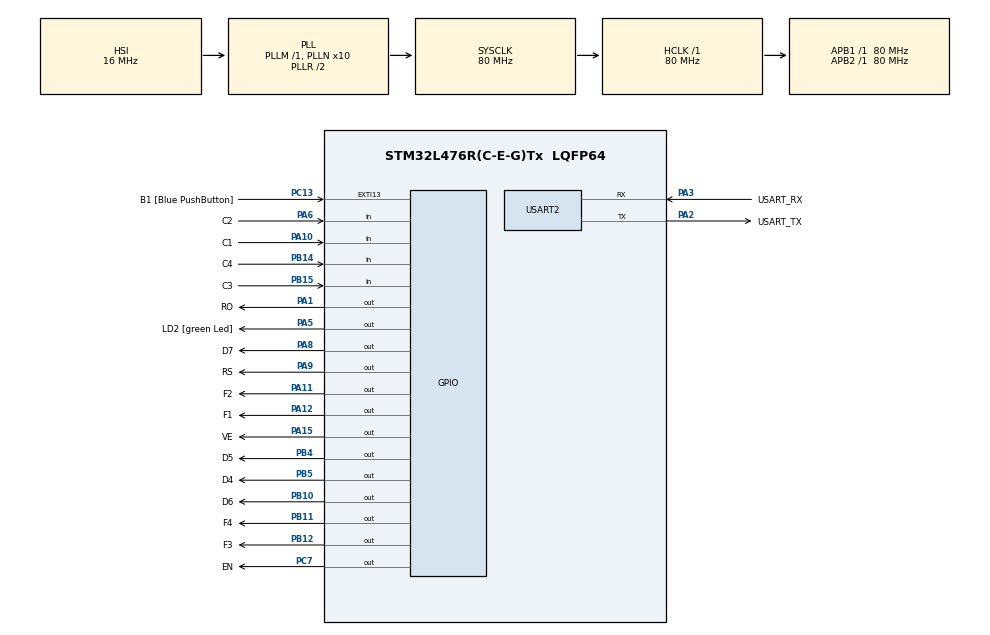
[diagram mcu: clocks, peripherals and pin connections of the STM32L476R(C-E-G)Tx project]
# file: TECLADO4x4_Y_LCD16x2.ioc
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FREERTOS.Tasks01=defaultTask,0,128,StartDefaultTask,Default,NULL,Dynamic,NULL,NULL
Mcu.Family=STM32L4
Mcu.Name=STM32L476R(C-E-G)Tx
Mcu.Package=LQFP64
NVIC.PriorityGroup=NVIC_PRIORITYGROUP_4
PA1.GPIO_Label=RO
PA1.Signal=GPIO_Output
PA10.GPIO_Label=C1 
PA10.GPIO_PuPd=GPIO_PULLUP
PA10.Signal=GPIO_Input
PA11.GPIO_Label=F2
PA11.Signal=GPIO_Output
PA12.GPIO_Label=F1
PA12.Signal=GPIO_Output
PA13\ (JTMS-SWDIO).GPIO_Label=TMS
PA13\ (JTMS-SWDIO).Mode=Serial_Wire
PA13\ (JTMS-SWDIO).Signal=SYS_JTMS-SWDIO
PA14\ (JTCK-SWCLK).GPIO_Label=TCK
PA14\ (JTCK-SWCLK).Mode=Serial_Wire
PA14\ (JTCK-SWCLK).Signal=SYS_JTCK-SWCLK
PA15\ (JTDI).GPIO_Label=VE
PA15\ (JTDI).Signal=GPIO_Output
PA2.GPIO_Label=USART_TX
PA2.GPIO_Mode=GPIO_MODE_AF_PP
PA2.GPIO_PuPd=GPIO_NOPULL
PA2.GPIO_Speed=GPIO_SPEED_FREQ_VERY_HIGH
PA2.Mode=Asynchronous
PA2.Signal=USART2_TX
PA3.GPIO_Label=USART_RX
PA3.GPIO_Mode=GPIO_MODE_AF_PP
PA3.GPIO_PuPd=GPIO_NOPULL
PA3.GPIO_Speed=GPIO_SPEED_FREQ_VERY_HIGH
PA3.Mode=Asynchronous
PA3.Signal=USART2_RX
PA5.GPIO_Label=LD2 [green Led]
PA5.GPIO_ModeDefaultOutputPP=GPIO_MODE_OUTPUT_PP
PA5.GPIO_PuPd=GPIO_NOPULL
PA5.GPIO_Speed=GPIO_SPEED_FREQ_LOW
PA5.Signal=GPIO_Output
PA6.GPIO_Label=C2
PA6.GPIO_PuPd=GPIO_PULLUP
PA6.Signal=GPIO_Input
PA8.GPIO_Label=D7
PA8.Signal=GPIO_Output
PA9.GPIO_Label=RS
PA9.Signal=GPIO_Output
PB10.GPIO_Label=D6
PB10.Signal=GPIO_Output
PB11.GPIO_Label=F4
PB11.Signal=GPIO_Output
PB12.GPIO_Label=F3
PB12.Signal=GPIO_Output
PB14.GPIO_Label=C4
PB14.GPIO_PuPd=GPIO_PULLUP
PB14.Signal=GPIO_Input
PB15.GPIO_Label=C3
PB15.GPIO_PuPd=GPIO_PULLUP
PB15.Signal=GPIO_Input
PB3\ (JTDO-TRACESWO).GPIO_Label=SWO
PB3\ (JTDO-TRACESWO).Signal=SYS_JTDO-SWO
PB4\ (NJTRST).GPIO_Label=D5
PB4\ (NJTRST).Signal=GPIO_Output
PB5.GPIO_Label=D4
PB5.Signal=GPIO_Output
PC13.GPIO_Label=B1 [Blue PushButton]
PC13.GPIO_ModeDefaultEXTI=GPIO_MODE_IT_FALLING
PC13.GPIO_PuPd=GPIO_NOPULL
PC13.Signal=GPXTI13
PC14-OSC32_IN\ (PC14).Mode=LSE-External-Oscillator
PC14-OSC32_IN\ (PC14).Signal=RCC_OSC32_IN
PC15-OSC32_OUT\ (PC15).Mode=LSE-External-Oscillator
PC15-OSC32_OUT\ (PC15).Signal=RCC_OSC32_OUT
PC7.GPIO_Label=EN
PC7.Signal=GPIO_Output
PH0-OSC_IN\ (PH0).Signal=RCC_OSC_IN
PH1-OSC_OUT\ (PH1).Signal=RCC_OSC_OUT
ProjectManager.HeapSize=0x200
ProjectManager.StackSize=0x400
ProjectManager.TargetToolchain=STM32CubeIDE
RCC.ADCFreq_Value=64000000
RCC.AHBFreq_Value=80000000
RCC.APB1Freq_Value=80000000
RCC.APB1TimFreq_Value=80000000
RCC.APB2Freq_Value=80000000
RCC.APB2TimFreq_Value=80000000
RCC.CortexFreq_Value=80000000
RCC.HCLKFreq_Value=80000000
RCC.HSE_VALUE=8000000
RCC.HSI_VALUE=16000000
RCC.MSI_VALUE=4000000
RCC.PLLN=10
RCC.PLLSourceVirtual=RCC_PLLSOURCE_HSI
RCC.PREFETCH_ENABLE=1
RCC.SYSCLKFreq_VALUE=80000000
RCC.SYSCLKSource=RCC_SYSCLKSOURCE_PLLCLK
RCC.USBFreq_Value=64000000
RCC.VCOOutputFreq_Value=160000000
USART2.VirtualMode-Asynchronous=VM_ASYNC
VP_FREERTOS_VS_CMSIS_V1.Mode=CMSIS_V1
board=NUCLEO-L476RG

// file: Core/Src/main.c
/* USER CODE BEGIN Header */
/**
  ******************************************************************************
  * @file           : main.c
  * @brief          : Main program body
  ******************************************************************************
  * @attention
  *
  * <h2><center>&copy; Copyright (c) 2020 STMicroelectronics.
  * All rights reserved.</center></h2>
  *
  * This software component is licensed by ST under BSD 3-Clause license,
  * the "License"; You may not use this file except in compliance with the
  * License. You may obtain a copy of the License at:
  *                        opensource.org/licenses/BSD-3-Clause
  *
  ******************************************************************************
  */
/* USER CODE END Header */
#include "main.h"
#include "cmsis_os.h"

/* USER CODE BEGIN Includes */
#include "lcd.h"
#include <stdio.h>
#include <stdlib.h>
#include <string.h>
/* USER CODE END Includes */

UART_HandleTypeDef huart2;

osThreadId defaultTaskHandle;
osThreadId claveHandle;
osThreadId imprimirHandle;
/* USER CODE BEGIN PV */

enum states {STATE0, STATE1, STATE2, STATE3, STATE4} current_state; //, STATE5

char input;  // aqui va estar el dato que se presione

char a1,a2,a3,a4,a5,a6,a7,a8,a9,a0;
int i=0;
char ba,bb,bc,bd;
char cal[11]={'0','1','2','3','4','5','6','7','8','9','\0'};
char str[11];

//{"0","1","2","3","4","5","6","7","8","9","*","A","B",
//		"C","D","*","#"};
/* USER CODE END PV */

void SystemClock_Config(void);
static void MX_GPIO_Init(void);
static void MX_USART2_UART_Init(void);
void StartDefaultTask(void const * argument);
void StartTask02(void const * argument);
void StartTask03(void const * argument);

/* USER CODE BEGIN PFP */

char read_keypad(void);
void contras_ciclo(int);
void cursor (char*);
void open(char*);
void error(char*);
void x(char*);
void lock_safe();
void unlock_safe();

/* USER CODE END PFP */

int main(void)
{

  /* MCU Configuration--------------------------------------------------------*/

  /* Reset of all peripherals, Initializes the Flash interface and the Systick. */
  HAL_Init();

  /* Configure the system clock */
  SystemClock_Config();

  /* Initialize all configured peripherals */
  MX_GPIO_Init();
  MX_USART2_UART_Init();
  /* USER CODE BEGIN 2 */
  Lcd_PortType ports[] = {
      	D4_GPIO_Port, D5_GPIO_Port, D6_GPIO_Port, D7_GPIO_Port
      };

      Lcd_PinType pins[] = {D4_Pin, D5_Pin, D6_Pin, D7_Pin};

      Lcd_HandleTypeDef lcd;

      lcd = Lcd_create(ports, pins, RS_GPIO_Port, RS_Pin, EN_GPIO_Port, EN_Pin, LCD_4_BIT_MODE);

      Lcd_string(&lcd, "*Bienvenido*");

      Lcd_cursor(&lcd, 1,0);
      Lcd_string(&lcd, "Ingrese pin: ");

//      Lcd_cursor(&lcd, 1,5);
//     Lcd_int(&lcd,cursor);

      lock_safe(); // inicializa seguro
//
      current_state = STATE0; //inicializamos el estado
  /* USER CODE END 2 */

  /* Create the thread(s) */
  /* definition and creation of defaultTask */
  osThreadDef(defaultTask, StartDefaultTask, osPriorityNormal, 0, 128);
  defaultTaskHandle = osThreadCreate(osThread(defaultTask), NULL);

  /* definition and creation of clave */
  osThreadDef(clave, StartTask02, osPriorityIdle, 0, 128);
  claveHandle = osThreadCreate(osThread(clave), NULL);

  /* definition and creation of imprimir */
  osThreadDef(imprimir, StartTask03, osPriorityIdle, 0, 128);
  imprimirHandle = osThreadCreate(osThread(imprimir), NULL);

  /* Start scheduler */
  osKernelStart();

  /* We should never get here as control is now taken by the scheduler */
  /* Infinite loop */
      while (1)
       {

       }
}

void SystemClock_Config(void)
{
  RCC_OscInitTypeDef RCC_OscInitStruct = {0};
  RCC_ClkInitTypeDef RCC_ClkInitStruct = {0};
  RCC_PeriphCLKInitTypeDef PeriphClkInit = {0};

  /** Initializes the RCC Oscillators according to the specified parameters
  * in the RCC_OscInitTypeDef structure.
  */
  RCC_OscInitStruct.OscillatorType = RCC_OSCILLATORTYPE_HSI;
  RCC_OscInitStruct.HSIState = RCC_HSI_ON;
  RCC_OscInitStruct.HSICalibrationValue = RCC_HSICALIBRATION_DEFAULT;
  RCC_OscInitStruct.PLL.PLLState = RCC_PLL_ON;
  RCC_OscInitStruct.PLL.PLLSource = RCC_PLLSOURCE_HSI;
  RCC_OscInitStruct.PLL.PLLM = 1;
  RCC_OscInitStruct.PLL.PLLN = 10;
  RCC_OscInitStruct.PLL.PLLP = RCC_PLLP_DIV7;
  RCC_OscInitStruct.PLL.PLLQ = RCC_PLLQ_DIV2;
  RCC_OscInitStruct.PLL.PLLR = RCC_PLLR_DIV2;
  if (HAL_RCC_OscConfig(&RCC_OscInitStruct) != HAL_OK)
  {
    Error_Handler();
  }
  /** Initializes the CPU, AHB and APB buses clocks
  */
  RCC_ClkInitStruct.ClockType = RCC_CLOCKTYPE_HCLK|RCC_CLOCKTYPE_SYSCLK
                              |RCC_CLOCKTYPE_PCLK1|RCC_CLOCKTYPE_PCLK2;
  RCC_ClkInitStruct.SYSCLKSource = RCC_SYSCLKSOURCE_PLLCLK;
  RCC_ClkInitStruct.AHBCLKDivider = RCC_SYSCLK_DIV1;
  RCC_ClkInitStruct.APB1CLKDivider = RCC_HCLK_DIV1;
  RCC_ClkInitStruct.APB2CLKDivider = RCC_HCLK_DIV1;

  if (HAL_RCC_ClockConfig(&RCC_ClkInitStruct, FLASH_LATENCY_4) != HAL_OK)
  {
    Error_Handler();
  }
  PeriphClkInit.PeriphClockSelection = RCC_PERIPHCLK_USART2;
  PeriphClkInit.Usart2ClockSelection = RCC_USART2CLKSOURCE_PCLK1;
  if (HAL_RCCEx_PeriphCLKConfig(&PeriphClkInit) != HAL_OK)
  {
    Error_Handler();
  }
  /** Configure the main internal regulator output voltage
  */
  if (HAL_PWREx_ControlVoltageScaling(PWR_REGULATOR_VOLTAGE_SCALE1) != HAL_OK)
  {
    Error_Handler();
  }
}

static void MX_USART2_UART_Init(void)
{

  huart2.Instance = USART2;
  huart2.Init.BaudRate = 115200;
  huart2.Init.WordLength = UART_WORDLENGTH_8B;
  huart2.Init.StopBits = UART_STOPBITS_1;
  huart2.Init.Parity = UART_PARITY_NONE;
  huart2.Init.Mode = UART_MODE_TX_RX;
  huart2.Init.HwFlowCtl = UART_HWCONTROL_NONE;
  huart2.Init.OverSampling = UART_OVERSAMPLING_16;
  huart2.Init.OneBitSampling = UART_ONE_BIT_SAMPLE_DISABLE;
  huart2.AdvancedInit.AdvFeatureInit = UART_ADVFEATURE_NO_INIT;
  if (HAL_UART_Init(&huart2) != HAL_OK)
  {
    Error_Handler();
  }

}

static void MX_GPIO_Init(void)
{
  GPIO_InitTypeDef GPIO_InitStruct = {0};

  /* GPIO Ports Clock Enable */
  __HAL_RCC_GPIOC_CLK_ENABLE();
  __HAL_RCC_GPIOH_CLK_ENABLE();
  __HAL_RCC_GPIOA_CLK_ENABLE();
  __HAL_RCC_GPIOB_CLK_ENABLE();

  /*Configure GPIO pin Output Level */
  HAL_GPIO_WritePin(GPIOA, RO_Pin|LD2_Pin|D7_Pin|RS_Pin
                          |F2_Pin|F1_Pin|VE_Pin, GPIO_PIN_RESET);

  /*Configure GPIO pin Output Level */
  HAL_GPIO_WritePin(GPIOB, D6_Pin|F4_Pin|F3_Pin|D5_Pin
                          |D4_Pin, GPIO_PIN_RESET);

  /*Configure GPIO pin Output Level */
  HAL_GPIO_WritePin(EN_GPIO_Port, EN_Pin, GPIO_PIN_RESET);

  /*Configure GPIO pin : B1_Pin */
  GPIO_InitStruct.Pin = B1_Pin;
  GPIO_InitStruct.Mode = GPIO_MODE_IT_FALLING;
  GPIO_InitStruct.Pull = GPIO_NOPULL;
  HAL_GPIO_Init(B1_GPIO_Port, &GPIO_InitStruct);

  /*Configure GPIO pins : RO_Pin LD2_Pin D7_Pin RS_Pin
                           F2_Pin F1_Pin VE_Pin */
  GPIO_InitStruct.Pin = RO_Pin|LD2_Pin|D7_Pin|RS_Pin
                          |F2_Pin|F1_Pin|VE_Pin;
  GPIO_InitStruct.Mode = GPIO_MODE_OUTPUT_PP;
  GPIO_InitStruct.Pull = GPIO_NOPULL;
  GPIO_InitStruct.Speed = GPIO_SPEED_FREQ_LOW;
  HAL_GPIO_Init(GPIOA, &GPIO_InitStruct);

  /*Configure GPIO pins : C2_Pin C1_Pin */
  GPIO_InitStruct.Pin = C2_Pin|C1_Pin;
  GPIO_InitStruct.Mode = GPIO_MODE_INPUT;
  GPIO_InitStruct.Pull = GPIO_PULLUP;
  HAL_GPIO_Init(GPIOA, &GPIO_InitStruct);

  /*Configure GPIO pins : D6_Pin F4_Pin F3_Pin D5_Pin
                           D4_Pin */
  GPIO_InitStruct.Pin = D6_Pin|F4_Pin|F3_Pin|D5_Pin
                          |D4_Pin;
  GPIO_InitStruct.Mode = GPIO_MODE_OUTPUT_PP;
  GPIO_InitStruct.Pull = GPIO_NOPULL;
  GPIO_InitStruct.Speed = GPIO_SPEED_FREQ_LOW;
  HAL_GPIO_Init(GPIOB, &GPIO_InitStruct);

  /*Configure GPIO pins : C4_Pin C3_Pin */
  GPIO_InitStruct.Pin = C4_Pin|C3_Pin;
  GPIO_InitStruct.Mode = GPIO_MODE_INPUT;
  GPIO_InitStruct.Pull = GPIO_PULLUP;
  HAL_GPIO_Init(GPIOB, &GPIO_InitStruct);

  /*Configure GPIO pin : EN_Pin */
  GPIO_InitStruct.Pin = EN_Pin;
  GPIO_InitStruct.Mode = GPIO_MODE_OUTPUT_PP;
  GPIO_InitStruct.Pull = GPIO_NOPULL;
  GPIO_InitStruct.Speed = GPIO_SPEED_FREQ_LOW;
  HAL_GPIO_Init(EN_GPIO_Port, &GPIO_InitStruct);

}

/* USER CODE BEGIN 4 */

void contras_ciclo(int input){
	input = read_keypad();
	           if(input !='F'){
	         	  switch(current_state){
	     			case STATE0:
						if(i<4){
							switch(input){
								case '1':
								a1=1;
								cursor("1");
								current_state = STATE0;
								i=i+1;
								break;

								case '2':
								a2=2;
								cursor("2");
								current_state = STATE1;
								i=i+1;
								break;

								case '3':
								a3=3;
								cursor("3");
								current_state = STATE0;
								i=i+1;
								break;

								case '4':
								a4=4;
								cursor("4");
								current_state = STATE0;
								i=i+1;
								break;

								case '5':
								a5=5;
								cursor("5");
								current_state = STATE0;
								i=i+1;
								break;

								case '6':
								a6=6;
								cursor("6");
								current_state = STATE0;
								i=i+1;
								break;

								case '7':
								a7=7;
								cursor("7");
								current_state = STATE0;
								i=i+1;
								break;

								case '8':
								a8=8;
								cursor("8");
								current_state = STATE0;
								i=i+1;
								break;

								case '9':
								a9=9;
								cursor("9");
								current_state = STATE0;
								i=i+1;
								break;

								case '0':
								a0=0;
								cursor("0");
								current_state = STATE0;
								i=i+1;
								break;
								}//switch
							}// if
						else{
							current_state = STATE0;
							error("");
						}
	                break;
	     			case STATE1:
						if(i<4){
							switch(input){
								case '1':
								a1=1;
								cursor("1");
								current_state = STATE1;
								i=i+1;
								break;

								case '2':
								a2=2;
								cursor("2");
								current_state = STATE1;
								i=i+1;
								break;

								case '3':
								a3=3;
								cursor("3");
								current_state = STATE1;
								i=i+1;
								break;

								case '4':
								a4=4;
								cursor("4");
								current_state = STATE1;
								i=i+1;
								break;

								case '5':
								a5=5;
								cursor("5");
								current_state = STATE1;
								i=i+1;
								break;

								case '6':
								a6=6;
								cursor("6");
								current_state = STATE1;
								i=i+1;
								break;

								case '7':
								a7=7;
								cursor("7");
								current_state = STATE1;
								i=i+1;
								break;

								case '8':
								a8=8;
								cursor("8");
								current_state = STATE1;
								i=i+1;
								break;

								case '9':
								a9=9;
								cursor("9");
								current_state = STATE1;
								i=i+1;
								break;

								case '0':
								a0=0;
								cursor("0");
								current_state = STATE2;
								i=i+1;
								break;
								}//switch
							}// if
						else{
							current_state = STATE0;
							error("");
						}
	                break;
	     			case STATE2:
						if(i<4){
							switch(input){
								case '1':
								a1=1;
								cursor("1");
								current_state = STATE3;
								i=i+1;
								break;

								case '2':
								a2=2;
								cursor("2");
								current_state = STATE2;
								i=i+1;
								break;

								case '3':
								a3=3;
								cursor("3");
								current_state = STATE2;
								i=i+1;
								break;

								case '4':
								a4=4;
								cursor("4");
								current_state = STATE2;
								i=i+1;
								break;

								case '5':
								a5=5;
								cursor("5");
								current_state = STATE2;
								i=i+1;
								break;

								case '6':
								a6=6;
								cursor("6");
								current_state = STATE2;
								i=i+1;
								break;

								case '7':
								a7=7;
								cursor("7");
								current_state = STATE2;
								i=i+1;
								break;

								case '8':
								a8=8;
								cursor("8");
								current_state = STATE2;
								i=i+1;
								break;

								case '9':
								a9=9;
								cursor("9");
								current_state = STATE2;
								i=i+1;
								break;

								case '0':
								a0=0;
								cursor("0");
								current_state = STATE2;
								i=i+1;
								break;
								}//switch
							}// if
						else{
							current_state = STATE0;
							error("");
						}
	     			break;
	     			case STATE3:
						if(i<4){
							switch(input){
								case '1':
								a1=1;
								cursor("1");
								current_state = STATE3;
								i=i+1;
								break;

								case '2':
								a2=2;
								cursor("2");
								current_state = STATE3;
								i=i+1;
								break;

								case '3':
								a3=3;
								cursor("3");
								current_state = STATE3;
								i=i+1;
								break;

								case '4':
								a4=4;
								cursor("4");
								current_state = STATE3;
								i=i+1;
								break;

								case '5':
								a5=5;
								cursor("5");
								current_state = STATE3;
								i=i+1;
								break;

								case '6':
								a6=6;
								cursor("6");
								current_state = STATE3;
								i=i+1;
								break;

								case '7':
								a7=7;
								cursor("7");
								current_state = STATE4;
								i=i+1;
								break;

								case '8':
								a8=8;
								cursor("8");
								current_state = STATE3;
								i=i+1;
								break;

								case '9':
								a9=9;
								cursor("9");
								current_state = STATE3;
								i=i+1;
								break;

								case '0':
								a0=0;
								cursor("0");
								current_state = STATE3;
								i=i+1;
								break;
								}//switch
							}// if
						else{
							current_state = STATE0;
							error("");
						}
					break;
	     			case STATE4:
						unlock_safe();
						cursor("*");
						open("");
					break;

	     		  	  } // switch(current_state)
	           } //if(input !='F')
} //funcion

uint32_t pos=5;
uint32_t post=5;
char contra[11];

void cursor (char* val){
if(pos==5){
	strcpy(str, val);
}
else{
	strcat(str, val);
}
 Lcd_PortType ports[] = {D4_GPIO_Port, D5_GPIO_Port, D6_GPIO_Port, D7_GPIO_Port};

		  Lcd_PinType pins[] = {D4_Pin, D5_Pin, D6_Pin, D7_Pin};

		  Lcd_HandleTypeDef lcd;

		  lcd = Lcd_create(ports, pins, RS_GPIO_Port, RS_Pin, EN_GPIO_Port, EN_Pin, LCD_4_BIT_MODE);

		  Lcd_cursor(&lcd, 1,0);
		  Lcd_string(&lcd, "pin:");
		  Lcd_cursor(&lcd, 1,pos);
		  Lcd_string(&lcd,val);
		  pos=pos+1;
		  if (pos==9){
			  Lcd_cursor(&lcd, 1,5);
			  Lcd_string(&lcd,str);
		  }

}

void open(char* posicion){

 Lcd_PortType ports[] = {
			D4_GPIO_Port, D5_GPIO_Port, D6_GPIO_Port, D7_GPIO_Port
		  };

		  Lcd_PinType pins[] = {D4_Pin, D5_Pin, D6_Pin, D7_Pin};

		  Lcd_HandleTypeDef lcd;

		  lcd = Lcd_create(ports, pins, RS_GPIO_Port, RS_Pin, EN_GPIO_Port, EN_Pin, LCD_4_BIT_MODE);

	 Lcd_cursor(&lcd, 1,0);
	 Lcd_string(&lcd, "Abierto");
	 Lcd_cursor(&lcd, 1,post);
     Lcd_string(&lcd,posicion);

 }

void error (char* posicion){

 Lcd_PortType ports[] = {
			D4_GPIO_Port, D5_GPIO_Port, D6_GPIO_Port, D7_GPIO_Port
		  };

		  Lcd_PinType pins[] = {D4_Pin, D5_Pin, D6_Pin, D7_Pin};

		  Lcd_HandleTypeDef lcd;

		  lcd = Lcd_create(ports, pins, RS_GPIO_Port, RS_Pin, EN_GPIO_Port, EN_Pin, LCD_4_BIT_MODE);

	 Lcd_cursor(&lcd, 1,0);
	 Lcd_string(&lcd, "ERROR");
	 Lcd_cursor(&lcd, 1,post);
     Lcd_string(&lcd,posicion);

 }

char read_keypad(void)
{
	/* tomar la fila 1 en bajo y hacer las demas en altos */
	HAL_GPIO_WritePin(F1_GPIO_Port, F1_Pin, GPIO_PIN_RESET);
	HAL_GPIO_WritePin(F2_GPIO_Port, F2_Pin, GPIO_PIN_SET);
	HAL_GPIO_WritePin(F3_GPIO_Port, F3_Pin, GPIO_PIN_SET);
	HAL_GPIO_WritePin(F4_GPIO_Port, F4_Pin, GPIO_PIN_SET);

	if(!(HAL_GPIO_ReadPin(C1_GPIO_Port, C1_Pin))) // si la columna 1 esta en bajo
	{
		while(!(HAL_GPIO_ReadPin(C1_GPIO_Port, C1_Pin))); // espere hasta que este presionado el boton(metodo de antirrebote)
	    return '1';
	}

	if(!(HAL_GPIO_ReadPin(C2_GPIO_Port, C2_Pin))) // si la columna 2 esta en bajo
	{
		while(!(HAL_GPIO_ReadPin(C2_GPIO_Port, C2_Pin))); // espere hasta que este presionado el boton(metodo de antirrebote)
		return '2';
    }

	if(!(HAL_GPIO_ReadPin(C3_GPIO_Port, C3_Pin))) // si la columna 3 esta en bajo
	{
		while(!(HAL_GPIO_ReadPin(C3_GPIO_Port, C3_Pin))); // espere hasta que este presionado el boton(metodo de antirrebote)
		return '3';
	}

	if(!(HAL_GPIO_ReadPin(C4_GPIO_Port, C4_Pin))) // si la columna 4 esta en bajo
	{
		while(!(HAL_GPIO_ReadPin(C4_GPIO_Port, C4_Pin))); // espere hasta que este presionado el boton(metodo de antirrebote)
		return 'A';
	}

	HAL_GPIO_WritePin(F1_GPIO_Port, F1_Pin, GPIO_PIN_SET);
	HAL_GPIO_WritePin(F2_GPIO_Port, F2_Pin, GPIO_PIN_RESET);
	HAL_GPIO_WritePin(F3_GPIO_Port, F3_Pin, GPIO_PIN_SET);
	HAL_GPIO_WritePin(F4_GPIO_Port, F4_Pin, GPIO_PIN_SET);

	if(!(HAL_GPIO_ReadPin(C1_GPIO_Port, C1_Pin))) // si la columna 1 esta en bajo
	{
		while(!(HAL_GPIO_ReadPin(C1_GPIO_Port, C1_Pin))); // espere hasta que este presionado el boton(metodo de antirrebote)
		return '4';
	}

	if(!(HAL_GPIO_ReadPin(C2_GPIO_Port, C2_Pin))) // si la columna 2 esta en bajo
	{
		while(!(HAL_GPIO_ReadPin(C2_GPIO_Port, C2_Pin))); // espere hasta que este presionado el boton(metodo de antirrebote)
		return '5';
	 }

	if(!(HAL_GPIO_ReadPin(C3_GPIO_Port, C3_Pin))) // si la columna 3 esta en bajo
	{
		while(!(HAL_GPIO_ReadPin(C3_GPIO_Port, C3_Pin))); // espere hasta que este presionado el boton(metodo de antirrebote)
		return '6';
	}

	if(!(HAL_GPIO_ReadPin(C4_GPIO_Port, C4_Pin))) // si la columna 4 esta en bajo
	{
		while(!(HAL_GPIO_ReadPin(C4_GPIO_Port, C4_Pin))); // espere hasta que este presionado el boton(metodo de antirrebote)
		return 'B';
	}

	HAL_GPIO_WritePin(F1_GPIO_Port, F1_Pin, GPIO_PIN_SET);
	HAL_GPIO_WritePin(F2_GPIO_Port, F2_Pin, GPIO_PIN_SET);
	HAL_GPIO_WritePin(F3_GPIO_Port, F3_Pin, GPIO_PIN_RESET);
	HAL_GPIO_WritePin(F4_GPIO_Port, F4_Pin, GPIO_PIN_SET);

	if(!(HAL_GPIO_ReadPin(C1_GPIO_Port, C1_Pin))) // si la columna 1 esta en bajo
	{
		while(!(HAL_GPIO_ReadPin(C1_GPIO_Port, C1_Pin))); // espere hasta que este presionado el boton(metodo de antirrebote)
		return '7';
	}

	if(!(HAL_GPIO_ReadPin(C2_GPIO_Port, C2_Pin))) // si la columna 2 esta en bajo
	{
		while(!(HAL_GPIO_ReadPin(C2_GPIO_Port, C2_Pin))); // espere hasta que este presionado el boton(metodo de antirrebote)
		return '8';
	}

	if(!(HAL_GPIO_ReadPin(C3_GPIO_Port, C3_Pin))) // si la columna 3 esta en bajo
	{
		while(!(HAL_GPIO_ReadPin(C3_GPIO_Port, C3_Pin))); // espere hasta que este presionado el boton(metodo de antirrebote)
		return '9';
	}

	if(!(HAL_GPIO_ReadPin(C4_GPIO_Port, C4_Pin))) // si la columna 4 esta en bajo
	{
		while(!(HAL_GPIO_ReadPin(C4_GPIO_Port, C4_Pin))); // espere hasta que este presionado el boton(metodo de antirrebote)
		return 'C';
	}

	HAL_GPIO_WritePin(F1_GPIO_Port, F1_Pin, GPIO_PIN_SET);
	HAL_GPIO_WritePin(F2_GPIO_Port, F2_Pin, GPIO_PIN_SET);
	HAL_GPIO_WritePin(F3_GPIO_Port, F3_Pin, GPIO_PIN_SET);
	HAL_GPIO_WritePin(F4_GPIO_Port, F4_Pin, GPIO_PIN_RESET);

	if(!(HAL_GPIO_ReadPin(C1_GPIO_Port, C1_Pin))) // si la columna 1 esta en bajo
		{
		  while(!(HAL_GPIO_ReadPin(C1_GPIO_Port, C1_Pin))); // espere hasta que este presionado el boton(metodo de antirrebote)
		  return '*';
		}

		if(!(HAL_GPIO_ReadPin(C2_GPIO_Port, C2_Pin))) // si la columna 2 esta en bajo
		{
		  while(!(HAL_GPIO_ReadPin(C2_GPIO_Port, C2_Pin))); // espere hasta que este presionado el boton(metodo de antirrebote)
		  return '0';
		 }

		if(!(HAL_GPIO_ReadPin(C3_GPIO_Port, C3_Pin))) // si la columna 3 esta en bajo
		{
			while(!(HAL_GPIO_ReadPin(C3_GPIO_Port, C3_Pin))); // espere hasta que este presionado el boton(metodo de antirrebote)
			return '#';
		}

		if(!(HAL_GPIO_ReadPin(C4_GPIO_Port, C4_Pin))) // si la columna 4 esta en bajo
		{
			while(!(HAL_GPIO_ReadPin(C4_GPIO_Port, C4_Pin))); // espere hasta que este presionado el boton(metodo de antirrebote)
			return 'D';
		}
		return 'F';
}

    void lock_safe(void)
    {
	  HAL_GPIO_WritePin(VE_GPIO_Port, VE_Pin, GPIO_PIN_RESET);
	  HAL_GPIO_WritePin(RO_GPIO_Port, RO_Pin, GPIO_PIN_SET);
    }

    void unlock_safe(void)
    {
     cursor("0");
	 HAL_GPIO_WritePin(VE_GPIO_Port, VE_Pin, GPIO_PIN_SET);
	 HAL_GPIO_WritePin(RO_GPIO_Port, RO_Pin, GPIO_PIN_RESET);
     }

/* USER CODE END 4 */

void StartDefaultTask(void const * argument)
{
  /* USER CODE BEGIN 5 */
  /* Infinite loop */
  for(;;)
  {
	  if(input != 'F')
	  {
		  contras_ciclo(input);
	  }

    osDelay(1);
  }
  /* USER CODE END 5 */
}

void StartTask02(void const * argument)
{
	for(;;)
  {
    osDelay(1);
  }
}

void StartTask03(void const * argument)
{
  for(;;)
  {
    osDelay(1);
  }
}

void Error_Handler(void)
{
}

/************************ (C) COPYRIGHT STMicroelectronics *****END OF FILE****/
